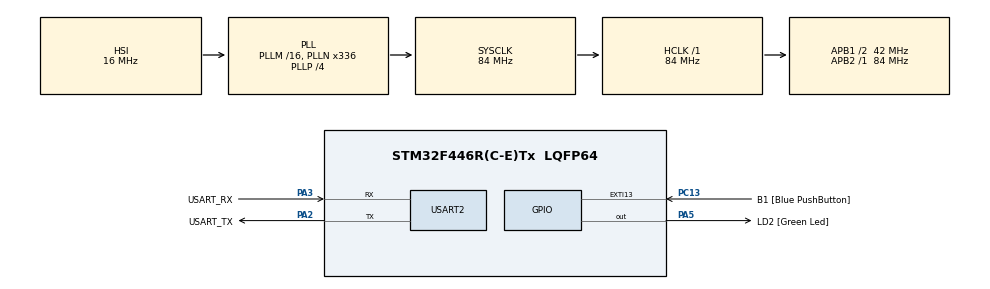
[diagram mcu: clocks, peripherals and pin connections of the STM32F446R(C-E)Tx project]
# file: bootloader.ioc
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Mcu.Family=STM32F4
Mcu.Name=STM32F446R(C-E)Tx
Mcu.Package=LQFP64
NVIC.PriorityGroup=NVIC_PRIORITYGROUP_0
PA13.GPIO_Label=TMS
PA13.Mode=Serial_Wire
PA13.Signal=SYS_JTMS-SWDIO
PA14.GPIO_Label=TCK
PA14.Mode=Serial_Wire
PA14.Signal=SYS_JTCK-SWCLK
PA2.GPIO_Label=USART_TX
PA2.Mode=Asynchronous
PA2.Signal=USART2_TX
PA3.GPIO_Label=USART_RX
PA3.Mode=Asynchronous
PA3.Signal=USART2_RX
PA5.GPIO_Label=LD2 [Green Led]
PA5.Signal=GPIO_Output
PB3.GPIO_Label=SWO
PB3.Signal=SYS_JTDO-SWO
PC13.GPIO_Label=B1 [Blue PushButton]
PC13.GPIO_ModeDefaultEXTI=GPIO_MODE_IT_FALLING
PC13.Signal=GPXTI13
PC14-OSC32_IN.Mode=LSE-External-Oscillator
PC14-OSC32_IN.Signal=RCC_OSC32_IN
PC15-OSC32_OUT.Mode=LSE-External-Oscillator
PC15-OSC32_OUT.Signal=RCC_OSC32_OUT
PH0-OSC_IN.Mode=HSE-External-Oscillator
PH0-OSC_IN.Signal=RCC_OSC_IN
PH1-OSC_OUT.Mode=HSE-External-Oscillator
PH1-OSC_OUT.Signal=RCC_OSC_OUT
ProjectManager.HeapSize=0x200
ProjectManager.StackSize=0x400
ProjectManager.TargetToolchain=STM32CubeIDE
RCC.48MHZClocksFreq_Value=84000000
RCC.AHBFreq_Value=84000000
RCC.APB1CLKDivider=RCC_HCLK_DIV2
RCC.APB1Freq_Value=42000000
RCC.APB1TimFreq_Value=84000000
RCC.APB2Freq_Value=84000000
RCC.APB2TimFreq_Value=84000000
RCC.CortexFreq_Value=84000000
RCC.FLatency-AdvancedSettings=FLASH_LATENCY_2
RCC.HCLKFreq_Value=84000000
RCC.HSE_VALUE=8000000
RCC.HSI_VALUE=16000000
RCC.PLLN=336
RCC.PLLP=RCC_PLLP_DIV4
RCC.SYSCLKFreq_VALUE=84000000
RCC.SYSCLKSource=RCC_SYSCLKSOURCE_PLLCLK
RCC.USBFreq_Value=168000000
RCC.VCOOutputFreq_Value=336000000
USART2.VirtualMode=VM_ASYNC
board=NUCLEO-F446RE

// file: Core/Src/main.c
/* USER CODE BEGIN Header */
/**
  ******************************************************************************
  * @file           : main.c
  * @brief          : Main program body
  ******************************************************************************
  * @attention
  *
  * Copyright (c) 2026 STMicroelectronics.
  * All rights reserved.
  *
  * This software is licensed under terms that can be found in the LICENSE file
  * in the root directory of this software component.
  * If no LICENSE file comes with this software, it is provided AS-IS.
  *
  ******************************************************************************
  */
/* USER CODE END Header */
#include "main.h"
#include <string.h>

/* USER CODE BEGIN PTD */
typedef struct __attribute__((packed)) {

	uint8_t soh;
	uint8_t blockNum;
	uint8_t inverseBlockNum;
	uint8_t data[128];
	uint8_t checksum;

}XmodemPacket;

/* USER CODE END PTD */

/* USER CODE BEGIN PD */
#define WAIT_TIME 5000
#define XMODEM_SOH 0x01
#define XMODEM_ACK 0x06
#define XMODEM_NAK 0x15
#define XMODEM_EOT 0x04
#define XMODEM_DATA_SIZE 128

/* USER CODE END PD */

UART_HandleTypeDef huart2;

void SystemClock_Config(void);
static void MX_GPIO_Init(void);
static void MX_USART2_UART_Init(void);
/* USER CODE BEGIN PFP */
void jumpToApp(void);
uint8_t parsePacket(XmodemPacket* curr_packet, uint8_t expectedBlock);
void blink(uint8_t delay);
/* USER CODE END PFP */

int main(void)
{

  /* MCU Configuration--------------------------------------------------------*/

  /* Reset of all peripherals, Initializes the Flash interface and the Systick. */
  HAL_Init();

  /* Configure the system clock */
  SystemClock_Config();

  /* Initialize all configured peripherals */
  MX_GPIO_Init();
  MX_USART2_UART_Init();
  /* USER CODE BEGIN 2 */

  HAL_UART_Transmit(&huart2, (uint8_t*)"Bootloader starting\r\n", 21, 100);

  // Variables for stopping bootloader
  uint32_t start_time;
  uint32_t delay = WAIT_TIME;
  uint8_t is_pressed = 0;

  // Variables for UART communication
//  uint32_t flashAddress = 0x08008000;
  uint8_t firmware_buffer[XMODEM_DATA_SIZE];
  uint8_t expected_block = 1;
  XmodemPacket curr_packet;
  uint8_t send_state;
  uint8_t transmission_done = 0;
  uint8_t ack = XMODEM_ACK;
  uint8_t nak = XMODEM_NAK;

  start_time = HAL_GetTick(); // keep this the last line before the loop bc it is time sensitive

  /* USER CODE END 2 */

  /* Infinite loop */
  /* USER CODE BEGIN WHILE */
  while (1)
  {
	// Adding Bootloader Delay (Poll-Based): If button pressed within 5 sec it will stay in bootloader,
	// else it will jump to app.

	  while (!is_pressed) {
			if ((HAL_GetTick() - start_time) <= delay) {
			  if (HAL_GPIO_ReadPin(GPIOC, GPIO_PIN_13) == GPIO_PIN_RESET) {
				  HAL_UART_Transmit(&huart2, (uint8_t*)"Staying in bootloader\r\n", 23, 100);
				  is_pressed = 1;
			  }
			}
			else { // Might want to change this as I develop the 2nd part below.
			  HAL_UART_Transmit(&huart2, (uint8_t*)"Jumping to app\r\n", 16, 100);
			  jumpToApp();
			}
	  }

	  if (!transmission_done) {
	  	  HAL_UART_Transmit(&huart2, &nak, 1, 100); // This tells the sender we are ready - XMODEM protocol
//	  HAL_UART_Transmit(&huart2, (uint8_t*)"NAK\r\n", 5, 100);
	  }

	  // Working on receiving packets from a sender via XMODEM protocol over UART. Eventually this will be out app.
	  // It will keep sending nacks if there is no sender.
	  while (!transmission_done) {
		  send_state = parsePacket(&curr_packet, expected_block);

		  if (send_state == XMODEM_ACK) {
			  blink(200);
			  HAL_UART_Transmit(&huart2, &ack, 1, 100);
//			  The following line only redirects the firmware_buffer pointer to curr_packets.data pointer, we will lose previous packet
//			  firmware_buffer = curr_packet.data;
			  memcpy(firmware_buffer, curr_packet.data, XMODEM_DATA_SIZE);
//			  flashAddress += XMODEM_DATA_SIZE;
			  ++expected_block;

		  }
		  else if (send_state == XMODEM_NAK) {
			  HAL_UART_Transmit(&huart2, &nak, 1, 100);
//			  HAL_UART_Transmit(&huart2, (uint8_t*)"NAK\r\n", 5, 100);
		  }
		  else if (send_state == XMODEM_EOT) {
			  HAL_UART_Transmit(&huart2, &ack, 1, 100);
			  transmission_done = 1;
		  }
	  }

//	  HAL_UART_Transmit(&huart2, firmware_buffer, XMODEM_DATA_SIZE, 100);

//	  Once done turn on LD2 -> PA5
	  HAL_GPIO_WritePin(GPIOA, GPIO_PIN_5, GPIO_PIN_SET);

    /* USER CODE END WHILE */

  }
}

void SystemClock_Config(void)
{
  RCC_OscInitTypeDef RCC_OscInitStruct = {0};
  RCC_ClkInitTypeDef RCC_ClkInitStruct = {0};

  /** Configure the main internal regulator output voltage
  */
  __HAL_RCC_PWR_CLK_ENABLE();
  __HAL_PWR_VOLTAGESCALING_CONFIG(PWR_REGULATOR_VOLTAGE_SCALE3);

  /** Initializes the RCC Oscillators according to the specified parameters
  * in the RCC_OscInitTypeDef structure.
  */
  RCC_OscInitStruct.OscillatorType = RCC_OSCILLATORTYPE_HSI;
  RCC_OscInitStruct.HSIState = RCC_HSI_ON;
  RCC_OscInitStruct.HSICalibrationValue = RCC_HSICALIBRATION_DEFAULT;
  RCC_OscInitStruct.PLL.PLLState = RCC_PLL_ON;
  RCC_OscInitStruct.PLL.PLLSource = RCC_PLLSOURCE_HSI;
  RCC_OscInitStruct.PLL.PLLM = 16;
  RCC_OscInitStruct.PLL.PLLN = 336;
  RCC_OscInitStruct.PLL.PLLP = RCC_PLLP_DIV4;
  RCC_OscInitStruct.PLL.PLLQ = 2;
  RCC_OscInitStruct.PLL.PLLR = 2;
  if (HAL_RCC_OscConfig(&RCC_OscInitStruct) != HAL_OK)
  {
    Error_Handler();
  }

  /** Initializes the CPU, AHB and APB buses clocks
  */
  RCC_ClkInitStruct.ClockType = RCC_CLOCKTYPE_HCLK|RCC_CLOCKTYPE_SYSCLK
                              |RCC_CLOCKTYPE_PCLK1|RCC_CLOCKTYPE_PCLK2;
  RCC_ClkInitStruct.SYSCLKSource = RCC_SYSCLKSOURCE_PLLCLK;
  RCC_ClkInitStruct.AHBCLKDivider = RCC_SYSCLK_DIV1;
  RCC_ClkInitStruct.APB1CLKDivider = RCC_HCLK_DIV2;
  RCC_ClkInitStruct.APB2CLKDivider = RCC_HCLK_DIV1;

  if (HAL_RCC_ClockConfig(&RCC_ClkInitStruct, FLASH_LATENCY_2) != HAL_OK)
  {
    Error_Handler();
  }
}

static void MX_USART2_UART_Init(void)
{

  huart2.Instance = USART2;
  huart2.Init.BaudRate = 115200;
  huart2.Init.WordLength = UART_WORDLENGTH_8B;
  huart2.Init.StopBits = UART_STOPBITS_1;
  huart2.Init.Parity = UART_PARITY_NONE;
  huart2.Init.Mode = UART_MODE_TX_RX;
  huart2.Init.HwFlowCtl = UART_HWCONTROL_NONE;
  huart2.Init.OverSampling = UART_OVERSAMPLING_16;
  if (HAL_UART_Init(&huart2) != HAL_OK)
  {
    Error_Handler();
  }

}

static void MX_GPIO_Init(void)
{
  GPIO_InitTypeDef GPIO_InitStruct = {0};

  /* GPIO Ports Clock Enable */
  __HAL_RCC_GPIOC_CLK_ENABLE();
  __HAL_RCC_GPIOH_CLK_ENABLE();
  __HAL_RCC_GPIOA_CLK_ENABLE();
  __HAL_RCC_GPIOB_CLK_ENABLE();

  /*Configure GPIO pin Output Level */
  HAL_GPIO_WritePin(LD2_GPIO_Port, LD2_Pin, GPIO_PIN_RESET);

  /*Configure GPIO pin : B1_Pin */
  GPIO_InitStruct.Pin = B1_Pin;
  GPIO_InitStruct.Mode = GPIO_MODE_IT_FALLING;
  GPIO_InitStruct.Pull = GPIO_NOPULL;
  HAL_GPIO_Init(B1_GPIO_Port, &GPIO_InitStruct);

  /*Configure GPIO pin : LD2_Pin */
  GPIO_InitStruct.Pin = LD2_Pin;
  GPIO_InitStruct.Mode = GPIO_MODE_OUTPUT_PP;
  GPIO_InitStruct.Pull = GPIO_NOPULL;
  GPIO_InitStruct.Speed = GPIO_SPEED_FREQ_LOW;
  HAL_GPIO_Init(LD2_GPIO_Port, &GPIO_InitStruct);

}

/* USER CODE BEGIN 4 */

void jumpToApp(void) {
	uint32_t appAddress = 0x08008000;
	uint32_t* vectorTable = (uint32_t*)appAddress;
	uint32_t stackPointer = vectorTable[0];
	uint32_t resetHandler = vectorTable[1];

	HAL_UART_Transmit(&huart2, (uint8_t*)"Stack and reset read\r\n", 22, 100);

	__disable_irq();

	__set_MSP(stackPointer);

	void (*appStart)(void) = (void (*)(void)) resetHandler;

	// OK so issue was that when the bootloader hands control to app it didn't
	// enable interrupts so then HAL_GPIO_TogglePin doesn't work
	__enable_irq();

	appStart();

}

uint8_t parsePacket(XmodemPacket* curr_packet, uint8_t expectedBlock) {

//     Read just the first byte first and determine if EOT or SOH
    if (HAL_UART_Receive(&huart2, (uint8_t*)curr_packet, 1, 5000) != HAL_OK)
        return XMODEM_NAK;

    if (curr_packet->soh == XMODEM_EOT) return XMODEM_EOT;

	if (HAL_UART_Receive(&huart2, (uint8_t*) curr_packet + 1, sizeof(XmodemPacket) - 1, 5000) != HAL_OK)
		return XMODEM_NAK;

	uint8_t my_checksum = 0;

	for (uint8_t i=0; i<XMODEM_DATA_SIZE; i++) {
		my_checksum += curr_packet->data[i];
	}

	// Bug Fixed 6/10/2026: ~(curr_packet->inverseBlockNum)) & 0xFF, needed the 0xFF since ~ converts uint8_t to int first
	if ((curr_packet->soh != XMODEM_SOH) || (curr_packet->checksum != my_checksum)
			|| (curr_packet->blockNum != ((~(curr_packet->inverseBlockNum)) & 0xFF)) || (curr_packet->blockNum != expectedBlock)) {
		return XMODEM_NAK;
	}
	else return XMODEM_ACK;
}

void blink(uint8_t delay) {
	HAL_GPIO_WritePin(GPIOA, GPIO_PIN_5, GPIO_PIN_RESET);
    HAL_GPIO_WritePin(GPIOA, GPIO_PIN_5, GPIO_PIN_SET);
    HAL_Delay(delay);
    HAL_GPIO_WritePin(GPIOA, GPIO_PIN_5, GPIO_PIN_RESET);
}

/* USER CODE END 4 */

void Error_Handler(void)
{
  __disable_irq();
  while (1)
  {
  }
}
